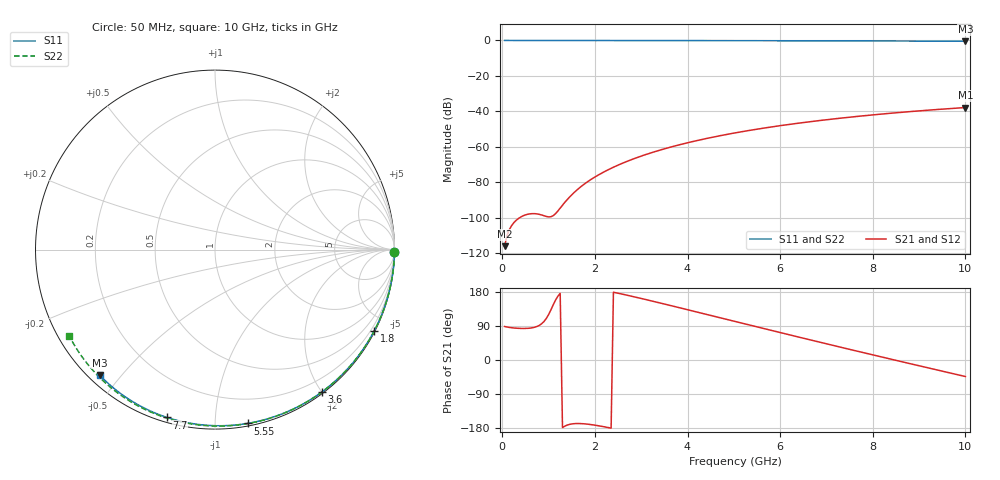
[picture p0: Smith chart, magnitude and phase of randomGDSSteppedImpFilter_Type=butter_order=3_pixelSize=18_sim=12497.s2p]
! freq	dB(S11)	phase(S11)	dB(S12)	phase(S12)
!  dB(S21)	phase(S21)	dB(S22)	phase(S22)
!S-par simulation data
#  GHz  S  DB  R 50
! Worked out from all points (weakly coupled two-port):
!   200 points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, 50 MHz to 10 GHz, reference 50 ohm
!   highest |S21| = -37.79 dB at 10 GHz (marker M1); lowest = -115.9 dB at 50 MHz (marker M2)
!   lowest |S11| = -0.4 dB at 10 GHz (marker M3), VSWR 38.62, Z = 1.54 - j21.9 ohm
!   |S11| at or under -10 dB: nowhere
!   |S22| runs from -0.5 to 0.0 dB; largest |S21 - S12| = 0
!   S11 on the Smith chart (normalised r, x): 50 MHz: open; 1.8 GHz: 0.04, -4.14; 3.6 GHz: 0.02, -2.00; 5.55 GHz: 0.02, -1.21; 7.7 GHz: 0.02, -0.75; 10 GHz: 0.03, -0.44
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0.05  -0.00 -0.8  -115.88 88.4  -115.88 88.4  -0.00 -0.9
0.45  -0.01 -6.9  -98.77 83.2  -98.77 83.2  -0.01 -7.8
0.9  -0.02 -13.7  -98.73 101.6  -98.73 101.6  -0.02 -15.5
1.3  -0.02 -19.7  -92.79 -178.5  -92.79 -178.5  -0.03 -22.3
1.75  -0.03 -26.4  -81.31 -168.2  -81.31 -168.2  -0.04 -29.8
1.8  -0.03 -27.2  -80.34 -168.7  -80.34 -168.7  -0.04 -30.7
1.85  -0.04 -27.9  -79.43 -169.4  -79.43 -169.4  -0.04 -31.5
2  -0.04 -30.1  -76.92 -171.9  -76.92 -171.9  -0.04 -34.0
2.15  -0.04 -32.3  -74.68 -175.1  -74.68 -175.1  -0.05 -36.5
2.5  -0.05 -37.5  -70.22 176.3  -70.22 176.3  -0.05 -42.2
2.9  -0.06 -43.2  -66.06 165.2  -66.06 165.2  -0.06 -48.7
3.4  -0.07 -50.3  -61.80 150.7  -61.80 150.7  -0.08 -56.7
3.6  -0.07 -53.1  -60.31 144.7  -60.31 144.7  -0.08 -59.8
4.3  -0.09 -62.8  -55.84 123.7  -55.84 123.7  -0.10 -70.6
5.05  -0.11 -72.8  -51.96 101.0  -51.96 101.0  -0.13 -81.7
5.55  -0.13 -79.4  -49.77 85.9  -49.77 85.9  -0.15 -89.0
6.1  -0.15 -86.4  -47.64 69.4  -47.64 69.4  -0.17 -96.8
6.7  -0.18 -93.9  -45.59 51.6  -45.59 51.6  -0.20 -105.1
7.7  -0.24 -106.0  -42.69 22.2  -42.69 22.2  -0.27 -118.7
8.35  -0.29 -113.6  -41.09 3.4  -41.09 3.4  -0.33 -127.4
9.2  -0.36 -123.5  -39.26 -20.9  -39.26 -20.9  -0.41 -138.6
10  -0.45 -132.7  -37.79 -43.6  -37.79 -43.6  -0.50 -149.3
